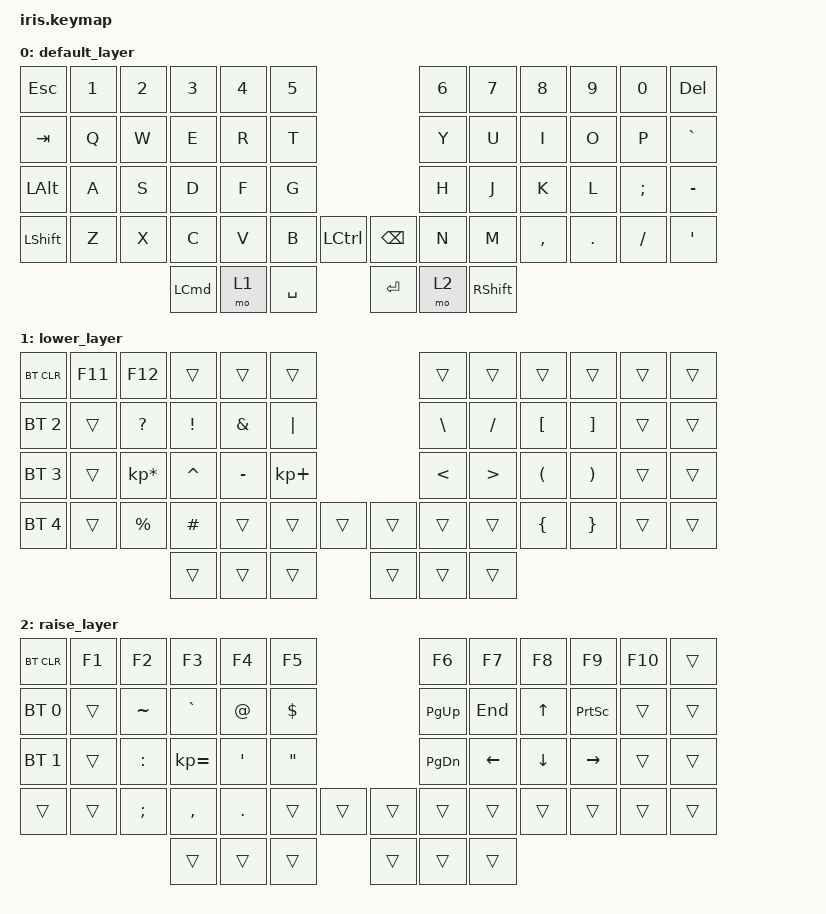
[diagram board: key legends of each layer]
/*
 * Copyright (c) 2020 The ZMK Contributors
 *
 * SPDX-License-Identifier: MIT
 */

#include <behaviors.dtsi>
#include <dt-bindings/zmk/keys.h>
#include <dt-bindings/zmk/bt.h>

/ {
	keymap {
		compatible = "zmk,keymap";

		default_layer {
// ------------------------------------------------------------------------------------------------------------
// |  ESC  |  1  |  2  |  3   |  4   |  5   |                   |  6   |  7    |  8    |  9   |   0   |  DEL  |
// |  TAB  |  Q  |  W  |  E   |  R   |  T   |                   |  Y   |  U    |  I    |  O   |   P   |   `   |
// | ALT   |  A  |  S  |  D   |  F   |  G   |                   |  H   |  J    |  K    |  L   |   ;   |   -   |
// | SHIFT |  Z  |  X  |  C   |  V   |  B   |  LCTRL |  |  BSPC |  N   |  M    |  ,    |  .   |   /   |   '   |
//                     	      | CMD  | LOWER|  SPACE |  | ENTER | RAISE|  SHIFT  |
			bindings = <
&kp ESC   &kp N1 &kp N2 &kp N3 &kp N4   &kp N5                       &kp N6 &kp N7 &kp N8    &kp N9  &kp N0   &kp DEL
&kp TAB   &kp Q  &kp W  &kp E  &kp R    &kp T                        &kp Y  &kp U  &kp I     &kp O   &kp P    &kp GRAVE
&kp LALT  &kp A  &kp S  &kp D  &kp F    &kp G                        &kp H  &kp J  &kp K     &kp L   &kp SEMI &kp MINUS
&kp LSHFT &kp Z  &kp X  &kp C  &kp V    &kp B    &kp LCTRL &kp BSPC  &kp N  &kp M  &kp COMMA &kp DOT &kp FSLH &kp SQT
                   	       &kp LCMD  &mo 1   &kp SPACE &kp RET   &mo 2  &kp RSHFT
			>;
		};

		lower_layer {
// ------------------------------------------------------------------------------------------------------------
// | BTCLR | F11 | F12 |      |      |      |                   |      |       |      |       |       |       |
// |  BT3  |     |  ?  |  !   |  &   | "|"  |                   |  \   |   /   | "["  | "]"   |       |       |
// |  BT4  |     |  *  |  ^   |  -   |   +  |                   |  <   |   >   |  (   |   )   |       |       |
// |  BT5  |     |  %  |  #   |      |      |        |  |       |      |       |  {   |   }   |       |       |
//                            |      |      |        |  |       |      |       |

			bindings = <
&bt BT_CLR   &kp F11      &kp F12         &trans         &trans       &trans                      &trans    &trans    &trans     &trans    &trans    &trans
&bt BT_SEL 2 &trans       &kp QMARK       &kp EXCL       &kp AMPS     &kp PIPE                    &kp BSLH  &kp FSLH  &kp LBKT   &kp RBKT  &trans    &trans
&bt BT_SEL 3 &trans       &kp KP_MULTIPLY &kp CARET      &kp MINUS    &kp KP_PLUS                 &kp LT    &kp GT    &kp LPAR   &kp RPAR  &trans    &trans
&bt BT_SEL 4 &trans       &kp PRCNT       &kp HASH       &trans       &trans     &trans  &trans   &trans    &trans    &kp LBRC   &kp RBRC  &trans    &trans
                   					                   &trans       &trans    &trans   &trans   &trans    &trans
			>;
		};

		raise_layer {
// ------------------------------------------------------------------------------------------------------------
// | BTCLR |  F1 | F2  |  F3  |  F4  |  F5  |                   |  F6  |   F7  |   F8   |  F9  |  F10  |       |
// |  BT1  |     |  ~  |  `   |  @   |  $   |                   | PgUp |  END  |   ^    |PRTSCR|       |       |
// |  BT2  |     |  :  |  =   |  '   |  "   |                   | PgDn |   <-  |   v    |  ->  |       |       |
// |       |     |  ;  |  ,   |  .   |      |        |  |       |      |       |        |      |       |       |
//                            |      |      |        |  |       |      |       |

			bindings = <
&bt BT_CLR   &kp F1       &kp F2       &kp F3       &kp F4       &kp F5                        &kp F6      &kp F7    &kp F8    &kp F9     &kp F10   &trans
&bt BT_SEL 0 &trans       &kp TILDE    &kp GRAVE    &kp AT       &kp DLLR                      &kp PG_UP   &kp END   &kp UP    &kp PSCRN  &trans    &trans
&bt BT_SEL 1 &trans       &kp COLON    &kp KP_EQUAL &kp APOS     &kp DQT                       &kp PG_DN   &kp LEFT  &kp DOWN  &kp RIGHT  &trans    &trans
&trans       &trans       &kp SEMI     &kp COMMA    &kp DOT      &trans    &trans   &trans     &trans      &trans   &trans    &trans     &trans    &trans
                   				                    &trans       &trans     &trans   &trans     &trans      &trans
			>;
		};
	};
};
